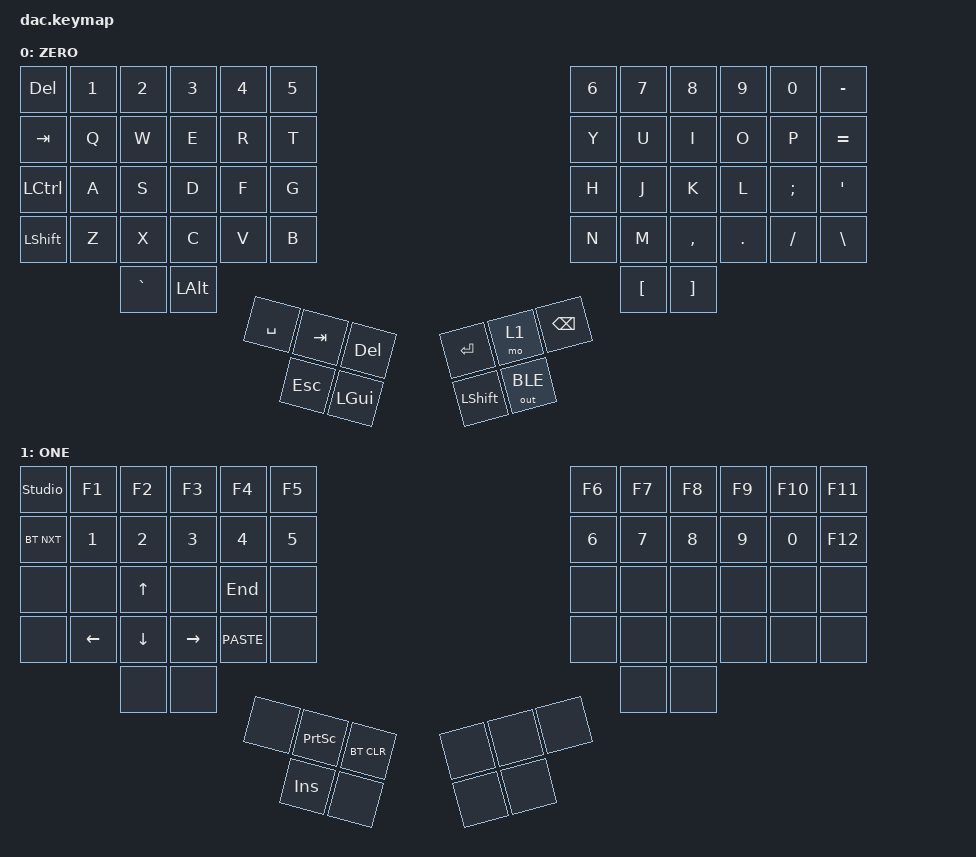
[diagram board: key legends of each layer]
#include <behaviors.dtsi>
#include <dt-bindings/zmk/keys.h>
#include <dt-bindings/zmk/ext_power.h>
#include <dt-bindings/zmk/bt.h>
#include <dt-bindings/zmk/outputs.h>

/ {
    keymap_5x6 {
        compatible = "zmk,keymap";
        // 5x6 matrix transform (keymaps need to map onto each key)
        // RC(0,0) RC(0,1) RC(0,2) RC(0,3) RC(0,4) RC(0,5)    RC(0,6) RC(0,7) RC(0,8) RC(0,9) RC(0,10) RC(0,11) 
        // RC(1,0) RC(1,1) RC(1,2) RC(1,3) RC(1,4) RC(1,5)    RC(1,6) RC(1,7) RC(1,8) RC(1,9) RC(1,10) RC(1,11) 
        // RC(2,0) RC(2,1) RC(2,2) RC(2,3) RC(2,4) RC(2,5)    RC(2,6) RC(2,7) RC(2,8) RC(2,9) RC(2,10) RC(2,11) 
        // RC(3,0) RC(3,1) RC(3,2) RC(3,3) RC(3,4) RC(3,5)    RC(3,6) RC(3,7) RC(3,8) RC(3,9) RC(3,10) RC(3,11) 
        //                 RC(4,2) RC(4,3) RC(4,4)                    RC(4,7) RC(4,8) RC(4,9) 
        //                 RC(5,2) RC(5,3) RC(5,4) RC(5,5)    RC(5,6) RC(5,7) RC(5,8) RC(5,9) 
         layer_0 {
             display-name = "ZERO";

             bindings = <
                 &kp DEL    &kp N1  &kp N2    &kp N3   &kp N4    &kp N5     &kp N6 &kp N7        &kp N8     &kp N9     &kp N0    &kp MINUS
                 &kp TAB    &kp Q   &kp W     &kp E    &kp R     &kp T      &kp Y  &kp U         &kp I      &kp O      &kp P     &kp EQUAL
                 &kp LCTRL  &kp A   &kp S     &kp D    &kp F     &kp G      &kp H  &kp J         &kp K      &kp L      &kp SEMI  &kp SQT
                 &kp LSHIFT &kp Z   &kp X     &kp C    &kp V     &kp B      &kp N  &kp M         &kp COMMA  &kp PERIOD &kp SLASH &kp BACKSLASH
                                    &kp GRAVE &kp LALT &kp SPACE            &kp BACKSPACE &kp LBKT   &kp RBKT
                                    &kp ESC   &kp LGUI &kp DEL   &kp TAB    &mo 1  &kp ENTER     &kp LSHIFT &out OUT_BLE
             >;
         };
        layer_1 {
            display-name = "ONE";
            
            bindings = <
                &studio_unlock &kp F1   &kp F2   &kp F3    &kp F4      &kp F5             &kp F6 &kp F7 &kp F8 &kp F9 &kp F10 &kp F11
                &bt BT_NXT     &kp N1   &kp N2   &kp N3    &kp N4      &kp N5             &kp N6 &kp N7 &kp N8 &kp N9 &kp N0  &kp  F12
                &none          &none    &kp UP   &none     &kp END     &none              &none  &none  &none  &none  &none   &none
                &none          &kp LEFT &kp DOWN &kp RIGHT &kp K_PASTE &none              &none  &none  &none  &none  &none   &none
                                        &none    &none     &none                                 &none  &none  &none
                                        &kp INS  &none     &bt BT_CLR  &kp PRINTSCREEN    &none  &none  &none  &none
            >;
        };
        extra1 {
            status = "reserved";
        };
        extra2 {
            status = "reserved";
        };
        extra3 {
            status = "reserved";
        };
        extra4 {
            status = "reserved";
        };
        extra5 {
            status = "reserved";
        };
        extra6 {
            status = "reserved";
        };
        //
        // layer to make testing if keys work easier
        //layer_testing {
        //    display-name = "TESTING";

        //    bindings = <
        //        &kp A    &kp A  &kp A    &kp A   &kp A    &kp A     &kp A    &kp A        &kp A     &kp A     &kp A    &kp A
        //        &kp A    &kp A  &kp A    &kp A   &kp A    &kp A     &kp A    &kp A        &kp A     &kp A     &kp A    &kp A
        //        &kp A    &kp A  &kp A    &kp A   &kp A    &kp A     &kp A    &kp A        &kp A     &kp A     &kp A    &kp A
        //        &kp A    &kp A  &kp A    &kp A   &kp A    &kp A     &kp A    &kp A        &kp A     &kp A     &kp A    &kp A
        //                        &kp A    &kp A   &kp A                       &kp A        &kp A     &kp A
        //                        &kp A    &kp A   &kp A    &kp A     &kp A    &kp A        &kp A     &kp A
        //    >;
        //};
    };
};
